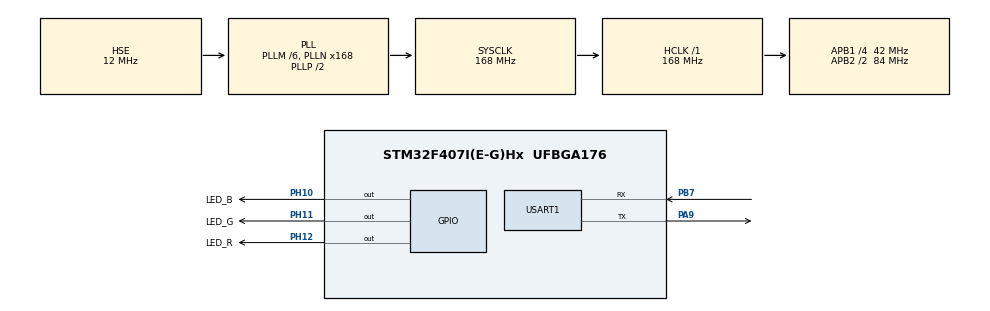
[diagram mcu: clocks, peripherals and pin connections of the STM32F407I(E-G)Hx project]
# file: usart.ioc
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Mcu.Family=STM32F4
Mcu.Name=STM32F407I(E-G)Hx
Mcu.Package=UFBGA176
NVIC.PriorityGroup=NVIC_PRIORITYGROUP_4
NVIC.USART1_IRQn=true\:0\:0\:false\:false\:true\:true\:true\:true
PA13.Mode=Serial_Wire
PA13.Signal=SYS_JTMS-SWDIO
PA14.Mode=Serial_Wire
PA14.Signal=SYS_JTCK-SWCLK
PA9.Mode=Asynchronous
PA9.Signal=USART1_TX
PB7.Mode=Asynchronous
PB7.Signal=USART1_RX
PD5.Signal=USART2_TX
PD6.Signal=USART2_RX
PH0-OSC_IN.Mode=HSE-External-Oscillator
PH0-OSC_IN.Signal=RCC_OSC_IN
PH1-OSC_OUT.Mode=HSE-External-Oscillator
PH1-OSC_OUT.Signal=RCC_OSC_OUT
PH10.GPIO_Label=LED_B
PH10.GPIO_PuPd=GPIO_PULLUP
PH10.GPIO_Speed=GPIO_SPEED_FREQ_HIGH
PH10.PinState=GPIO_PIN_SET
PH10.Signal=GPIO_Output
PH11.GPIO_Label=LED_G
PH11.GPIO_PuPd=GPIO_PULLUP
PH11.GPIO_Speed=GPIO_SPEED_FREQ_HIGH
PH11.PinState=GPIO_PIN_SET
PH11.Signal=GPIO_Output
PH12.GPIO_Label=LED_R
PH12.GPIO_PuPd=GPIO_PULLUP
PH12.GPIO_Speed=GPIO_SPEED_FREQ_HIGH
PH12.PinState=GPIO_PIN_SET
PH12.Signal=GPIO_Output
ProjectManager.HeapSize=0x200
ProjectManager.StackSize=0x400
ProjectManager.TargetToolchain=Makefile
RCC.48MHZClocksFreq_Value=84000000
RCC.AHBFreq_Value=168000000
RCC.APB1CLKDivider=RCC_HCLK_DIV4
RCC.APB1Freq_Value=42000000
RCC.APB1TimFreq_Value=84000000
RCC.APB2CLKDivider=RCC_HCLK_DIV2
RCC.APB2Freq_Value=84000000
RCC.APB2TimFreq_Value=168000000
RCC.CortexFreq_Value=168000000
RCC.HCLKFreq_Value=168000000
RCC.HSE_VALUE=12000000
RCC.HSI_VALUE=16000000
RCC.LSE_VALUE=32768
RCC.PLLM=6
RCC.PLLN=168
RCC.PLLSourceVirtual=RCC_PLLSOURCE_HSE
RCC.SYSCLKFreq_VALUE=168000000
RCC.SYSCLKSource=RCC_SYSCLKSOURCE_PLLCLK
RCC.VCOOutputFreq_Value=336000000
USART1.VirtualMode=VM_ASYNC
board=custom

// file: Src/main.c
/* USER CODE BEGIN Header */
/**
 ******************************************************************************
 * @file           : main.c
 * @brief          : Main program body
 ******************************************************************************
 * @attention
 *
 * <h2><center>&copy; Copyright (c) 2019 STMicroelectronics.
 * All rights reserved.</center></h2>
 *
 * This software component is licensed by ST under BSD 3-Clause license,
 * the "License"; You may not use this file except in compliance with the
 * License. You may obtain a copy of the License at:
 *                        opensource.org/licenses/BSD-3-Clause
 *
 ******************************************************************************
 */
/* USER CODE END Header */
#include "main.h"
#include "usart.h"
#include "gpio.h"

void SystemClock_Config(void);

/* USER CODE BEGIN 0 */

// uint8_t Rx_data[4];

// void HAL_UART_RxCpltCallback(UART_HandleTypeDef *huart){
//	HAL_UART_Receive_IT(&huart1, Rx_data, 1);
//	HAL_UART_Transmit(&huart1, "RoboMaster\r\n", 12, 100);
// }
void USART1_IRQHandler(void)
{
    volatile uint8_t receive;
    // receive interrupt 接收中断
    if (huart1.Instance->SR & UART_FLAG_RXNE)
    {
        receive = huart1.Instance->DR;
        //				HAL_UART_Receive_IT(&huart1, Rx_data, 4);
        //				HAL_UART_Transmit(&huart1, "Robomaster", sizeof("Robomaster")/sizeof("Robomaster"[0]), 100);
        HAL_UART_Transmit(&huart1, (uint8_t *)&receive, 1, 100);
        HAL_GPIO_TogglePin(LED_R_GPIO_Port, LED_R_Pin);
    }
    // idle interrupt 空闲中断
    else if (huart1.Instance->SR & UART_FLAG_IDLE)
    {
        receive = huart1.Instance->DR;
        HAL_GPIO_WritePin(LED_R_GPIO_Port, LED_R_Pin, GPIO_PIN_RESET);
    }
}

/* USER CODE END 0 */

int main(void)
{

    /* MCU Configuration--------------------------------------------------------*/

    /* Reset of all peripherals, Initializes the Flash interface and the Systick. */
    HAL_Init();

    /* Configure the system clock */
    SystemClock_Config();

    /* Initialize all configured peripherals */
    MX_GPIO_Init();
    MX_USART1_UART_Init();
    /* USER CODE BEGIN 2 */

    HAL_GPIO_WritePin(LED_R_GPIO_Port, LED_R_Pin, GPIO_PIN_RESET);
    HAL_GPIO_WritePin(LED_G_GPIO_Port, LED_G_Pin, GPIO_PIN_RESET);
    HAL_GPIO_WritePin(LED_B_GPIO_Port, LED_B_Pin, GPIO_PIN_RESET);
    // enable receive interrupt and idle interrupt
    //使能接收中断和空闲中断
    __HAL_UART_ENABLE_IT(&huart1, UART_IT_RXNE); // receive interrupt
    __HAL_UART_ENABLE_IT(&huart1, UART_IT_IDLE); // idle interrupt

    /* USER CODE END 2 */

    /* Infinite loop */
    while (1)
    {

        /* USER CODE BEGIN 3 */
        // send data by usart
        //串口发送数据
        //        HAL_UART_Transmit(&huart1, "RoboMaster\r\n", 12, 100);
        HAL_Delay(100);
    }
    /* USER CODE END 3 */
}

void SystemClock_Config(void)
{
    RCC_OscInitTypeDef RCC_OscInitStruct = {0};
    RCC_ClkInitTypeDef RCC_ClkInitStruct = {0};

    /** Configure the main internal regulator output voltage
     */
    __HAL_RCC_PWR_CLK_ENABLE();
    __HAL_PWR_VOLTAGESCALING_CONFIG(PWR_REGULATOR_VOLTAGE_SCALE1);

    /** Initializes the RCC Oscillators according to the specified parameters
     * in the RCC_OscInitTypeDef structure.
     */
    RCC_OscInitStruct.OscillatorType = RCC_OSCILLATORTYPE_HSE;
    RCC_OscInitStruct.HSEState = RCC_HSE_ON;
    RCC_OscInitStruct.PLL.PLLState = RCC_PLL_ON;
    RCC_OscInitStruct.PLL.PLLSource = RCC_PLLSOURCE_HSE;
    RCC_OscInitStruct.PLL.PLLM = 6;
    RCC_OscInitStruct.PLL.PLLN = 168;
    RCC_OscInitStruct.PLL.PLLP = RCC_PLLP_DIV2;
    RCC_OscInitStruct.PLL.PLLQ = 4;
    if (HAL_RCC_OscConfig(&RCC_OscInitStruct) != HAL_OK)
    {
        Error_Handler();
    }

    /** Initializes the CPU, AHB and APB buses clocks
     */
    RCC_ClkInitStruct.ClockType = RCC_CLOCKTYPE_HCLK | RCC_CLOCKTYPE_SYSCLK | RCC_CLOCKTYPE_PCLK1 | RCC_CLOCKTYPE_PCLK2;
    RCC_ClkInitStruct.SYSCLKSource = RCC_SYSCLKSOURCE_PLLCLK;
    RCC_ClkInitStruct.AHBCLKDivider = RCC_SYSCLK_DIV1;
    RCC_ClkInitStruct.APB1CLKDivider = RCC_HCLK_DIV4;
    RCC_ClkInitStruct.APB2CLKDivider = RCC_HCLK_DIV2;

    if (HAL_RCC_ClockConfig(&RCC_ClkInitStruct, FLASH_LATENCY_5) != HAL_OK)
    {
        Error_Handler();
    }
}

void Error_Handler(void)
{
}
